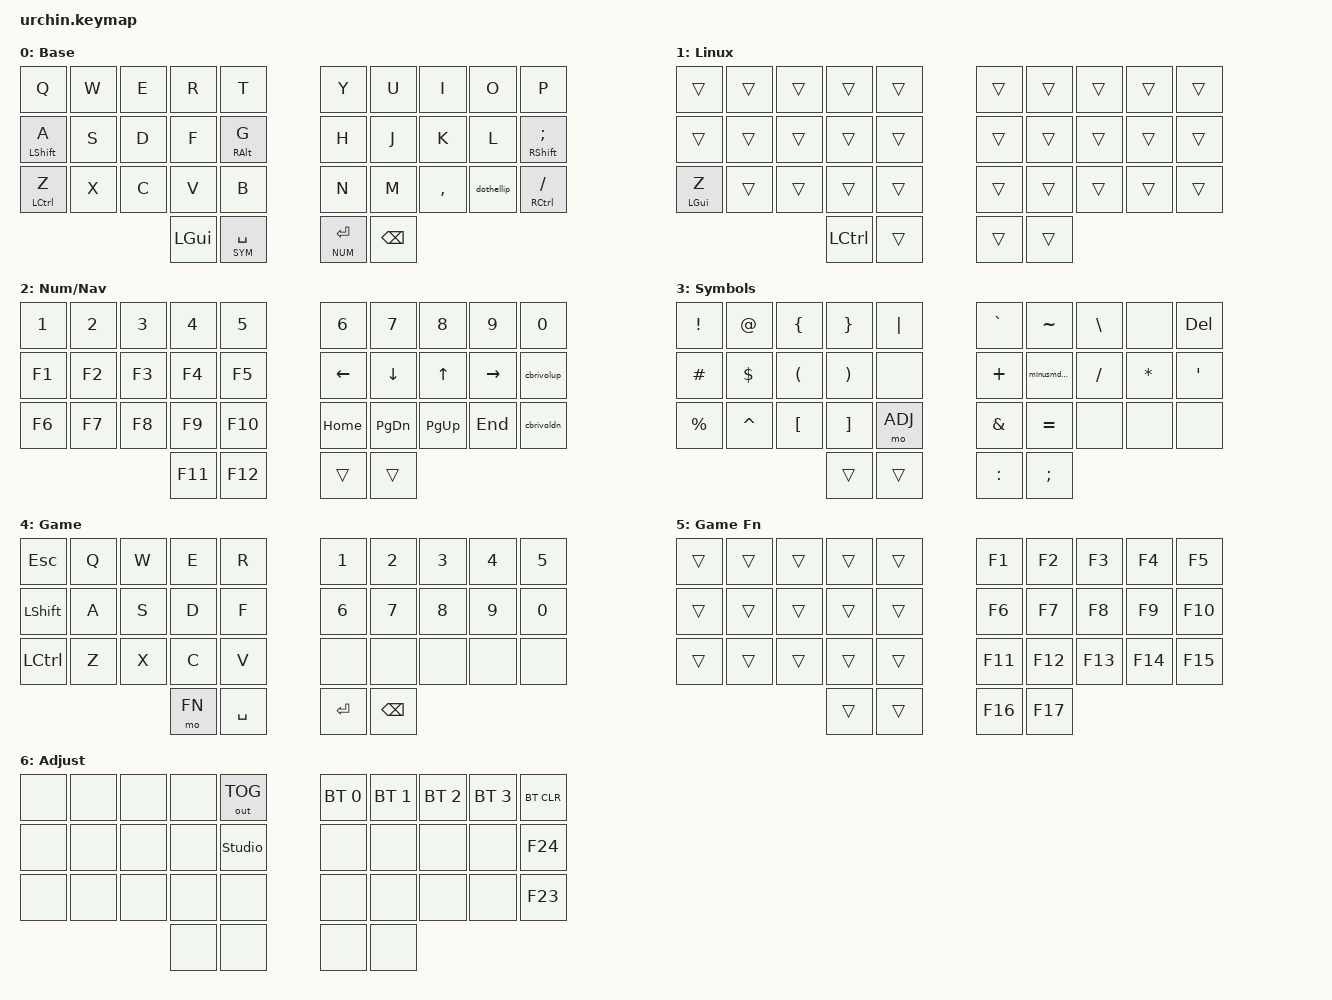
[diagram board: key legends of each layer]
#include <behaviors.dtsi>
#include <dt-bindings/zmk/keys.h>
#include <dt-bindings/zmk/bt.h>
#include <dt-bindings/zmk/outputs.h>

#include "helpers/34_key_labels.h"

#define DEF 0
#define LINUX 1
#define NUM 2
#define SYM 3
#define GAME 4
#define FN 5
#define ADJ 6

// Using layer taps on thumbs, having quick tap as well helps w/ repeating space/backspace
// https://zmk.dev/docs/keymaps/behaviors/hold-tap#quick-tap-ms
&lt {
  quick-tap-ms = <200>;
};

/ {
  behaviors {
    // https://zmk.dev/docs/keymaps/behaviors/hold-tap#interrupt-flavors
    hm: homerow_mods {
      compatible = "zmk,behavior-hold-tap";
      #binding-cells = <2>;
      tapping-term-ms = <150>;
      quick-tap-ms = <175>;
      flavor = "balanced";
      bindings = <&kp>, <&kp>;
    };

    hms: homerow_shift {
      compatible = "zmk,behavior-hold-tap";
      #binding-cells = <2>;
      tapping-term-ms = <200>;
      quick-tap-ms = <175>;
      flavor = "tap-preferred";
      bindings = <&kp>, <&kp>;
    };

    ltlaquo: less_than_left_ange_quote {
      compatible = "zmk,behavior-mod-morph";
      #binding-cells = <0>;
      bindings = <&kp LESS_THAN>, <&kp RA(BSLH)>; // < , «
      mods = <(MOD_LALT|MOD_RALT)>;
    };

    gtraquo: greater_than_right_ange_quote {
      compatible = "zmk,behavior-mod-morph";
      #binding-cells = <0>;
      bindings = <&kp GREATER_THAN>, <&kp LS(RA(BSLH))>; // > , »
      mods = <(MOD_LALT|MOD_RALT)>;
    };

    dothellip: dot_ellipsis {
      compatible = "zmk,behavior-mod-morph";
      #binding-cells = <0>;
      bindings = <&kp DOT>, <&kp RA(SEMI)>; // . , …
      mods = <(MOD_LALT|MOD_RALT)>;
    };

    minusmdash: minus_em_dash {
      compatible = "zmk,behavior-mod-morph";
      #binding-cells = <0>;
      bindings = <&kp MINUS>, <&kp LS(RA(MINUS))>; // - , —
      mods = <(MOD_LALT|MOD_RALT)>;
    };

    cbrivolup: c_bri_vol_up {
      compatible = "zmk,behavior-mod-morph";
      #binding-cells = <0>;
      bindings = <&kp C_BRI_UP>, <&kp C_VOL_UP>; // C_BRI_UP , C_VOL_UP
      mods = <(MOD_LSFT)>;
    };

    cbrivoldn: c_bri_vol_dn {
      compatible = "zmk,behavior-mod-morph";
      #binding-cells = <0>;
      bindings = <&kp C_BRI_DN>, <&kp C_VOL_DN>; // C_BRI_DN , C_VOL_DN
      mods = <(MOD_LSFT)>;
    };
  };

  combos {
    compatible = "zmk,combos";

    combo_esc {
      key-positions = <LT2 LT3>;
      bindings = <&kp ESC>;
    };

    combo_backspace {
      key-positions = <LM3 LM2>;
      bindings = <&kp BACKSPACE>;
    };

    combo_tab {
      key-positions = <LM2 LM1>;
      bindings = <&kp TAB>;
    };

    combo_less_than {
      key-positions = <RM1 RM2>;
      bindings = <&ltlaquo 0 0>;
    };

    combo_greater_than {
      key-positions = <RM2 RM3>;
      bindings = <&gtraquo 0 0>;
    };

    combo_enter {
      key-positions = <LB2 LB1>;
      bindings = <&kp ENTER>;
    };

    combo_single_quote {
      key-positions = <RB0 RB1>;
      bindings = <&kp SINGLE_QUOTE>;
    };

    combo_underscore {
      key-positions = <RB1 RB2>;
      bindings = <&kp UNDERSCORE>;
    };

    combo_toggle_linux {
      key-positions = <RT3 RM4>;
      bindings = <&tog LINUX>;
      layers = <DEF LINUX>;
    };

    combo_toggle_game {
      key-positions = <RT4 RB4>;
      bindings = <&tog GAME>;
      layers = <DEF GAME>;
    };

    combo_tab_game {
      key-positions = <LT1 LT0>;
      bindings = <&kp TAB>;
      layers = <GAME>;
    };
  };

  keymap {
    compatible = "zmk,keymap";

    default_layer {
      display-name = "Base";
      bindings = <
        &kp Q        &kp W      &kp E     &kp R      &kp T            &kp Y          &kp U       &kp I         &kp O         &kp P
        &hms LSHFT A &kp S      &kp D     &kp F      &hm RALT G       &kp H          &kp J       &kp K         &kp L         &hms RSHFT SEMI
        &hm LCTRL Z  &kp X      &kp C     &kp V      &kp B            &kp N          &kp M       &kp COMMA     &dothellip    &hm RCTRL FSLH
                                          &kp LGUI   &lt SYM SPACE    &lt NUM ENTER  &kp BSPC
      >;
    };

    linux_layer {
      display-name = "Linux";
      bindings = <
        &trans       &trans     &trans    &trans     &trans           &trans         &trans      &trans        &trans        &trans
        &trans       &trans     &trans    &trans     &trans           &trans         &trans      &trans        &trans        &trans
        &hm LGUI Z   &trans     &trans    &trans     &trans           &trans         &trans      &trans        &trans        &trans
                                          &kp LCTRL  &trans           &trans         &trans
      >;
    };

    num_layer {
      display-name = "Num/Nav";
      bindings = <
        &kp N1       &kp N2     &kp N3    &kp N4     &kp N5           &kp N6         &kp N7        &kp N8        &kp N9        &kp N0
        &kp F1       &kp F2     &kp F3    &kp F4     &kp F5           &kp LEFT       &kp DOWN      &kp UP        &kp RIGHT     &cbrivolup
        &kp F6       &kp F7     &kp F8    &kp F9     &kp F10          &kp HOME       &kp PG_DN     &kp PG_UP     &kp END       &cbrivoldn
                                          &kp F11    &kp F12          &trans         &trans
      >;
    };

    sym_layer {
      display-name = "Symbols";
      bindings = <
        &kp EXCL     &kp AT     &kp LBRC  &kp RBRC   &kp PIPE         &kp GRAVE      &kp TILDE     &kp BSLH      &none         &kp DEL
        &kp HASH     &kp DLLR   &kp LPAR  &kp RPAR   &none            &kp PLUS       &minusmdash   &kp FSLH      &kp STAR      &kp SQT
        &kp PRCNT    &kp CARET  &kp LBKT  &kp RBKT   &mo ADJ          &kp AMPS       &kp EQUAL     &none         &none         &none
                                          &trans     &trans           &kp COLON      &kp SEMI
      >;
    };

    game_layer {
      display-name = "Game";
      bindings = <
        &kp ESC      &kp Q      &kp W     &kp E      &kp R            &kp N1         &kp N2        &kp N3        &kp N4        &kp N5
        &kp LSHFT    &kp A      &kp S     &kp D      &kp F            &kp N6         &kp N7        &kp N8        &kp N9        &kp N0
        &kp LCTRL    &kp Z      &kp X     &kp C      &kp V            &none          &none         &none         &none         &none
                                          &mo FN     &kp SPACE        &kp ENTER      &kp BSPC
      >;
    };

    game_aux_layer {
      display-name = "Game Fn";
      bindings = <
        &trans       &trans     &trans    &trans     &trans            &kp F1         &kp F2        &kp F3        &kp F4        &kp F5
        &trans       &trans     &trans    &trans     &trans            &kp F6         &kp F7        &kp F8        &kp F9        &kp F10
        &trans       &trans     &trans    &trans     &trans            &kp F11        &kp F12       &kp F13       &kp F14       &kp F15
                                          &trans     &trans            &kp F16        &kp F17
      >;
    };

    adj_layer {
      display-name = "Adjust";
      bindings = <
        &none        &none      &none     &none      &out OUT_TOG     &bt BT_SEL 0   &bt BT_SEL 1  &bt BT_SEL 2  &bt BT_SEL 3  &bt BT_CLR
        &none        &none      &none     &none      &studio_unlock   &none          &none         &none         &none         &kp F24
        &none        &none      &none     &none      &none            &none          &none         &none         &none         &kp F23
                                          &none      &none            &none          &none
      >;
    };

    extra1 {
      status = "reserved";
    };

    extra2 {
      status = "reserved";
    };
  };
};
